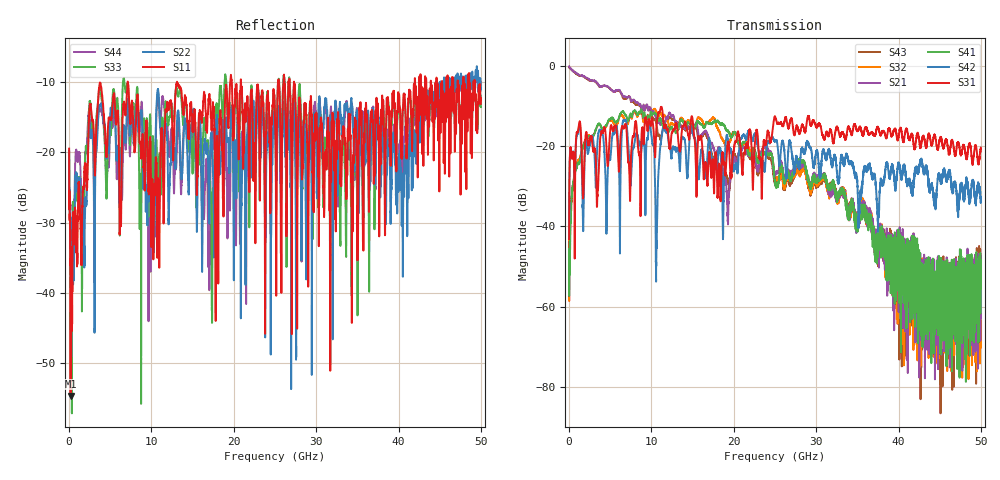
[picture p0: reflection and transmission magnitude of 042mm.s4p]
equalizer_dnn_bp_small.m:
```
clear;
addpath('bp')
%​系统参数与信道模型初始化​​
symbolRate = 28*1e9;   % symbol rate in Bd  符号率56GBd 14 28
M = 4;            % modulation order  PAM调制阶数
maxErrs = 200;    % target number of errors at each test  最大允许误码率
maxSymb = 1e7;    % maximum number of symbols at each test  单次测试最大符号数，是积累量
nSymb = 409600;     % number of symbols per vector  每批次处理的符号数

% DNN parameters parameters

%抽头（Tap）的本质​​
%抽头是数字滤波器中带权重的延迟单元，每个抽头对应一个符号周期（1 UI）的延迟。
%其作用是捕获信号在不同时间点的幅值

% refTap = 4;
preTap = 10;  %均衡器前向抽头数
posTap = 22;  %后向抽头数
numHiddenUnits = 74;  %隐藏层神经元数
parallel = 32;  %并行输出维度
maxEpochs = 1000;  %最大训练轮次（防止过拟合）
miniBatchSize = 1500;  %小批量样本数
inputSize =preTap+posTap+parallel;  %输入层节点数128=15+49+64
%将时间窗口（preTap + posTap）与并行输出（parallel=64）结合，
%构建时空联合输入特征（128维），使DNN能同时学习信道记忆效应和符号间关联性

%  figure(1);
%  plot(x,1-y,'r*-');
% Channel  信道模型加载与预处理
ChannelFilename = '042mm.s4p'; %Specify channel S-parameter  信道S参数文件
imPFilename = ['impulseResponse_',ChannelFilename(1:5),'_',num2str(symbolRate/1e9),'GBd.mat'];
if ~exist(imPFilename,'file')  %检查冲激相应文件是否存在
    ConvertSParameterToImpulseResponse;  %若不存在，调用S参数转冲激相应函数
else
    load(imPFilename);  %加载预计算的冲激相应数据
end
chnl = chnlImP';  % channel impulse response [0.227 0.460 0.688 0.460 0.227]'  转置冲激相应向量
fprintf(['Impulse response of ',ChannelFilename(1:5),' Channel at ', num2str(symbolRate/1e9),'GBd is \n [',num2str(chnlImP),'].\n']);
% 打印信道特征
% Equalizer  神经网络初始化
ntrain = nSymb;
arch = [inputSize,numHiddenUnits,parallel];  %网络架构 128->74->64
nlayer = length(arch);  %网络层数
eta = 0.1;  %学习率（控制权重更新幅度）
lambda = 0.6;  %L2正则化系数（抑制权重过大）

% Initialize channel and error collection parameters
chanState = [];

%network?  初始化权重和偏重
weight = cell(1,nlayer);
bias = cell(1,nlayer);
nabla_weight = cell(1,nlayer);  %权重矩阵的梯度
nabla_bias = cell(1,nlayer);  %偏执向量的梯度
a = cell(1,nlayer);  %存储各层的激活值
z = cell(1,nlayer);  %存储各层的加权输入

for in = 2:nlayer  %从第二层开始初始化（输入层无权重）
    %rand(m,n) 生成维度为 m×n 的矩阵，元素值服从 ​​[0,1] 均匀分布
    weight{in} = rand(arch(in),arch(in-1))-0.5;  %[-0.5,0.5]
    bias{in} = rand(arch(in),1)-0.5;
    nabla_weight{in} = rand(arch(in),arch(in-1));
    nabla_bias{in} = rand(arch(in),1);
end
for in = 1:nlayer
    a{in} = zeros(arch(in),miniBatchSize);
    z{in} = zeros(arch(in),miniBatchSize);
end

%训练集像​​日常学习​​（学习知识）；
%验证集像​​模拟考试​​（检测学习效果，调整学习方法）；
%测试集像​​高考​​（最终能力评估，仅用一次）
accuracy = zeros(1,maxEpochs);  %记录1000轮次的准确率
x_train = zeros(inputSize,miniBatchSize);  %训练输入数据
y_train = zeros(parallel,miniBatchSize);  %训练标签数据
x_valid = zeros(inputSize,floor((nSymb-inputSize)/parallel)+1);  %验证集输入特征
y_valid = zeros(parallel,floor((nSymb-inputSize)/parallel)+1);  %验证集标签
%  figure;  训练主循环
for ip = 1:maxEpochs  %轮次循环
    % Generate random data and apply PAM4 modulation
    msg = randi([0 M-1],nSymb,1);  %生成随机消息
    txSig = real(pammod(msg,M));  %PAM4调制（实部映射[-3,-1,1,3]）默认输出复数，real()提取实部
    % Pass the signal through the channel
     [filtSig,chanState] = filter(chnl,1,txSig,chanState);  %信道滤波（模拟失真）
    %filtSig：经信道失真后的信号。
    %chanState：更新后的滤波器状态，供下一批次使用（确保连续滤波状态一致）
    noisySig = filtSig';  %转置为行向量
    
    %数据，散点图

     label = msg';  %标签转置，作为监督学习的目标标签
    %小批量训练
    for pos = 0:floor((nSymb-inputSize+parallel)/miniBatchSize)-parallel  
        for tap = 1:inputSize  %构造输入矩阵，tap时间抽头索引
            x_train(tap,:) = noisySig(pos*miniBatchSize+tap:parallel:pos*miniBatchSize+tap+(miniBatchSize-1)*parallel);
        end  %起始点：步长：终点
        for class = 1:parallel  %构造标签矩阵  标签化归为[0,1] PAM4电平0->0，3->1
            y_train(class,:) = (label(pos*miniBatchSize+class+preTap:parallel:pos*miniBatchSize+class+preTap+(miniBatchSize-1)*parallel)/3 );
        end

    %hidden: sigmoid, output: sigmoid, cost: 'quadratic'@acti_relu  前向传播
    a{1} = x_train;  %输入层激活值=输入数据
    
    [a,z]=bp_feedforward(@acti_relu,@acti_sigmoid,weight,bias,nlayer,a,z);  
    %隐藏层：ReLU激活  输出层：Sigmoid激活
    %反向传播
    [weight,bias] = bp_backpropagation(@acti_relu_prime,@acti_sigmoid_prime,'quadratic',weight,bias,...
        nabla_weight,nabla_bias,nlayer,miniBatchSize,eta,a,z,y_train,lambda,ntrain);  %损失函数，梯度更新
    end  
    
    % Generate random data and apply PAM4 modulation  生成验证集
    msg = randi([0 M-1],nSymb,1);  %独立于训练集的消息
    txSig = real(pammod(msg,M));
    % Pass the signal through the channel
     [filtSig,chanState] = filter(chnl,1,txSig,chanState);
    noisySig = filtSig';
     label = msg';
    %组织验证数据
    for tap = 1:inputSize
        x_valid(tap,:) = noisySig(tap:parallel:end-inputSize+tap);  %滑窗采样
    end
    for pos = 1:parallel
     y_valid(pos,:) = label(pos+preTap:parallel:pos+end-inputSize+preTap);  %对齐标签
    end
    %评估准确率
    [accuracy(ip),yp] = evaluatemnist(@acti_relu,@acti_sigmoid,x_valid,y_valid,weight,bias,nlayer);
    plot(1-accuracy);  %绘制准确率曲线
    title(['BER:',num2str(1-accuracy(ip),'%.15f')]);  %动态更新标题
    getframe;  %刷新图形窗口
end
% end
%yp = [y_valid;yp];
rmpath('bp')

%二进制数据转化
%前向传播Verilog，让Verilog跑起来，包括testbench
%GitHub上反向传播代码，二进制转化也有人写
%先不搞训练（反向传播）
%可能需要对前向的代码进行改动，如sigmoid函数重新实现
%testbench从单个文件开始写
%相关数据从小到大进行实现，先从一个小的数据集开始

%目的：降低误码率
```
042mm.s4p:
!Agilent Technologies,N5245A,MY51251349,A.09.33.09
!Agilent N5245A: A.09.33.09
!Date: Wednesday, September 30, 2020 11:25:14
!Correction: S11(Full 4 Port(1,2,3,4))
!S12(Full 4 Port(1,2,3,4))
!S13(Full 4 Port(1,2,3,4))
!S14(Full 4 Port(1,2,3,4))
!S21(Full 4 Port(1,2,3,4))
!S22(Full 4 Port(1,2,3,4))
!S23(Full 4 Port(1,2,3,4))
!S24(Full 4 Port(1,2,3,4))
!S31(Full 4 Port(1,2,3,4))
!S32(Full 4 Port(1,2,3,4))
!S33(Full 4 Port(1,2,3,4))
!S34(Full 4 Port(1,2,3,4))
!S41(Full 4 Port(1,2,3,4))
!S42(Full 4 Port(1,2,3,4))
!S43(Full 4 Port(1,2,3,4))
!S44(Full 4 Port(1,2,3,4))
!S4P File: Measurements: <S11,S12,S13,S14>,
!<S21,S22,S23,S24>,
!<S31,S32,S33,S34>,
!<S41,S42,S43,S44>:
# Hz S  dB  R 50
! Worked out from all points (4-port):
!   6401 points, 10 MHz to 50 GHz, reference 50 ohm
!   strongest paths, dB at 10 MHz, 12.51 GHz, 25 GHz, 37.5 GHz, 50 GHz:
!     S31: -43.1, -16.7, -12.7, -15.3, -20.4
!     S42: -42.8, -21.6, -18.8, -40.1, -33.0
!     S41: -45.8, -15.5, -29.4, -45.8, -55.3
!     S21: -0.1, -12.5, -27.0, -43.5, -54.8
!     S32: -40.2, -14.3, -27.9, -41.5, -50.3
!     S43: -0.3, -13.3, -28.9, -44.3, -55.4
!   lowest |S11| = -54.7 dB at 189.7 MHz (marker M1), VSWR 1.00, Z = 50.2 + j0.0447 ohm
!   |S11| at or under -10 dB: start of sweep to 7.117 GHz; 13.12 GHz to 19.57 GHz (6.445 GHz wide, 39.4 % of centre); 27.31 GHz to 41.97 GHz (14.65 GHz wide, 42.3 % of centre)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
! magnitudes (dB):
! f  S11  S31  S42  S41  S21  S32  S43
! 10 MHz  -19.5  -43.1  -42.8  -45.8  -0.1  -40.2  -0.3
! 189.7 MHz  -54.7  -20.5  -20.6  -37.5  -0.6  -38.6  -0.7
! 50 GHz  -12.3  -20.4  -33.0  -55.3  -54.8  -50.3  -55.4
